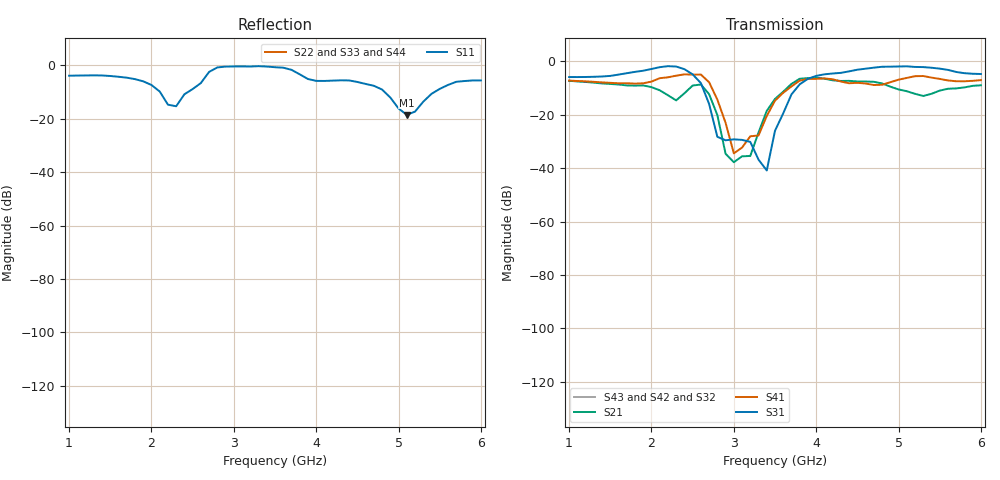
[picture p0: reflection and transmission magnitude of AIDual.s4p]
#  GHZ  S  RI  R  50.00
! freq[Hz]  re:S11  im:S11  re:S12  im:S12  re:S13  im:S13  re:S14  im:S14
!  re:S21  im:S21  re:S22  im:S22  re:S23  im:S23  re:S24  im:S24
!  re:S31  im:S31  re:S32  im:S32  re:S33  im:S33  re:S34  im:S34
!  re:S41  im:S41  re:S42  im:S42  re:S43  im:S43  re:S44  im:S44
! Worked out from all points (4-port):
!   51 points, 1 GHz to 6 GHz, reference 50 ohm
!   strongest paths, dB at 1 GHz, 2.2 GHz, 3.5 GHz, 4.8 GHz, 6 GHz:
!     S31: -5.9, -1.8, -26.0, -2.0, -4.7
!     S41: -7.2, -6.0, -14.7, -8.8, -7.0
!     S21: -7.3, -12.7, -14.1, -8.3, -8.9
!     S43: -, -, -, -, -
!     S42: -, -, -, -, -
!     S32: -, -, -, -, -
!   lowest |S11| = -18.5 dB at 5.1 GHz (marker M1), VSWR 1.27, Z = 47.9 - j11.5 ohm
!   |S11| at or under -10 dB: 2.104 GHz to 2.443 GHz (338.8 MHz wide, 14.9 % of centre); 4.831 GHz to 5.437 GHz (605.2 MHz wide, 11.8 % of centre)
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1  -0.5991 0.2213  0 0  0 0  0 0
   0.2396 -0.3601  0 0  0 0  0 0
   0.1311 -0.4916  0 0  0 0  0 0
   0.2068 -0.3843  0 0  0 0  0 0
2.4  -0.202 -0.2043  0 0  0 0  0 0
     -0.1364 -0.2126  0 0  0 0  0 0
     -0.1293 0.7028  0 0  0 0  0 0
     -0.5391 -0.1879  0 0  0 0  0 0
3  -0.687 0.6595  0 0  0 0  0 0
   -0.00929 0.00901  0 0  0 0  0 0
   -0.0311 0.0153  0 0  0 0  0 0
   0.0184 0.00471  0 0  0 0  0 0
3.4  -0.0376 0.948  0 0  0 0  0 0
     0.1181 -0.00837  0 0  0 0  0 0
     0.00847 -0.00323  0 0  0 0  0 0
     0.0721 -0.0618  0 0  0 0  0 0
3.8  0.4267 0.5281  0 0  0 0  0 0
     0.1452 -0.4494  0 0  0 0  0 0
     -0.1118 -0.3546  0 0  0 0  0 0
     0.0719 -0.4297  0 0  0 0  0 0
5.1  -0.00741 -0.118  0 0  0 0  0 0
     -0.2618 0.0874  0 0  0 0  0 0
     0.2314 0.7739  0 0  0 0  0 0
     -0.4883 0.0358  0 0  0 0  0 0
6  -0.00462 0.5209  0 0  0 0  0 0
   -0.261 0.2435  0 0  0 0  0 0
   0.5595 -0.1519  0 0  0 0  0 0
   -0.0821 0.4375  0 0  0 0  0 0
